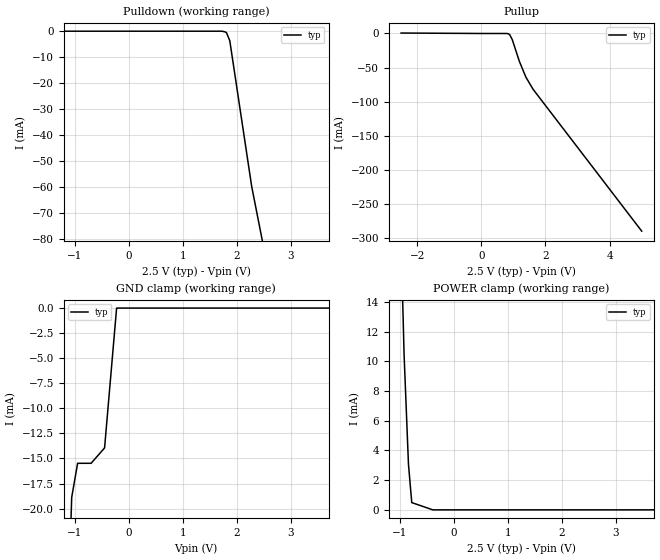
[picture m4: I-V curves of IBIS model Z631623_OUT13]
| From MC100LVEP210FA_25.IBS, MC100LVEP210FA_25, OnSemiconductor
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| (C) COPYRIGHT 1993-2000
| MENTOR GRAPHICS CORPORATION
| ICX STANDARD LIBRARY, ICX PROJECT MODELING,
| ICX CUSTOM MODELING, ICX VENDOR MODEL
| ALL RIGHTS RESERVED.
| THE FOLLOWING ARE TRADEMARKS OR SERVICE MARKS OF
| MENTOR GRAPHICS CORPORATION:ICX (R), ICX STANDARD
| LIBRARY(R), ICX PROJECT MODELING(R), ICX CUSTOM
| MODELING(R), qualityIBIS(TM), MODELVIEWER(TM),
| AND MODELEDITOR(TM)
| ALL COPIES OF SOFTWARE, INCLUDING BUT NOT LIMITED TO
| ANY MODIFICATIONS, ENHANCEMENTS OR DERIVATIVE WORKS,
| MUST CONTAIN ALL MENTOR GRAPHICS CORPORATION'S
| NOTICES AND LEGENDS, INCLUDING THOSE EMBEDDED IN
| SOFTWARE AND THOSE AFFIXED TO SOFTWARE MEDIUM
| AND CONTAINER, AS RECEIVED FROM MENTOR GRAPHICS
| CORPORATION.
| Model Application Version 1.89 2/18/99.
[Model] Z631623_OUT13
Model_type Output_ECL
Vref=500.0mV
Rref=50.00ohms
Cref=0.000F
Vmeas=1.100V
C_comp 1.000pF NA NA
| variable typ   min   max
[Voltage Range] 2.500V NA NA
[POWER Clamp Reference] 2.500V NA NA
[Pullup Reference] 2.500V NA NA
[Pulldown Reference] 2.500V NA NA
[GND Clamp Reference] 0.000V NA NA
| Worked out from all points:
|   GND clamp passes 1 mA (typ) near -0.24 V on its own axis
|   POWER clamp passes 1 mA (typ) near -0.79 V on its own axis
[GND Clamp]
-2.5V     -256.5mA   NA         NA
-1.054V   -18.87mA   NA         NA
-944.6mV  -15.48mA   NA         NA
-695.3mV  -15.48mA   NA         NA
-446mV    -13.95mA   NA         NA
-223mV    0A         NA         NA
5V        0A         NA         NA
[Pulldown]
-2.5V     0A         NA         NA
1.73V     0A         NA         NA
1.79V     -300uA     NA         NA
1.811V    -600uA     NA         NA
1.872V    -3.7mA     NA         NA
2.277V    -59.8mA    NA         NA
5V        -348.6mA   NA         NA
[Pullup]
-2.5V     663.7uA    NA         NA
22mV      0A         NA         NA
782mV     0A         NA         NA
823mV     -200uA     NA         NA
843mV     -400uA     NA         NA
884mV     -1.6mA     NA         NA
965mV     -8.9mA     NA         NA
1.187V    -40.9mA    NA         NA
1.39V     -64.1mA    NA         NA
1.613V    -81.9mA    NA         NA
5V        -290.4mA   NA         NA
[POWER Clamp]
-2.5V     229.5mA    NA         NA
-921mV    10.45mA    NA         NA
-840mV    3.073mA    NA         NA
-779mV    489.2uA    NA         NA
-389.5mV  0A         NA         NA
5V        0A         NA         NA
[Ramp]
| variable typ min max
dV/dt_r 482.6m/147.2p NA NA
dV/dt_f 482.6m/146.0p NA NA
R_load = 50.00Ohms
